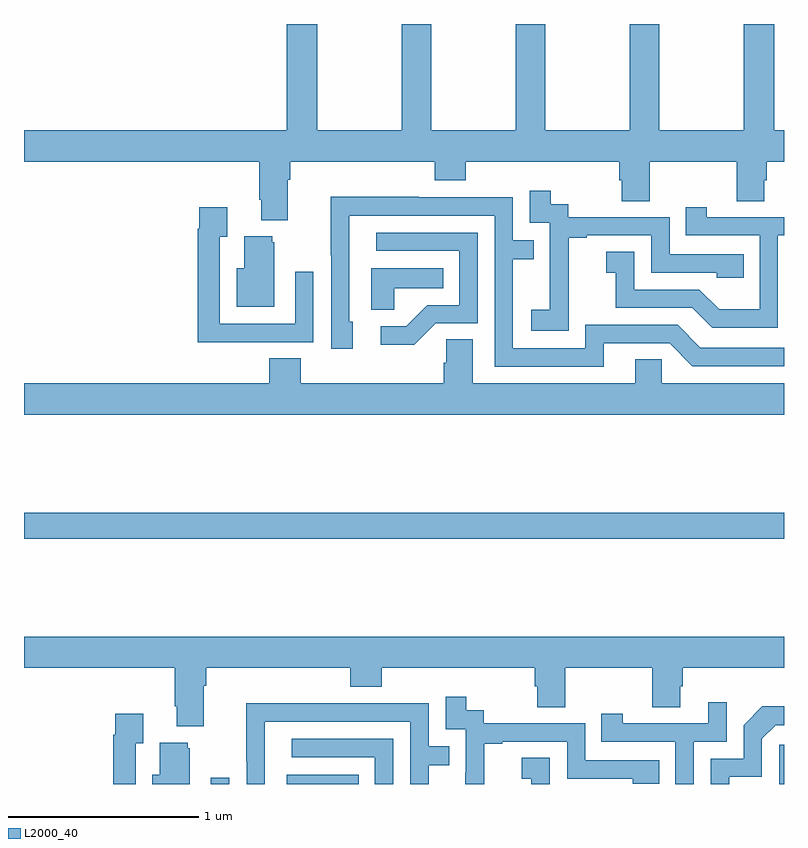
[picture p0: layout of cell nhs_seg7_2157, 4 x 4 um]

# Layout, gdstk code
import gdstk
lib = gdstk.Library(unit=1e-6, precision=1e-09)
def R(c, l, rs):  # rectangles x0, y0, x1, y1
    for r in rs: c.add(gdstk.rectangle(r[:2], r[2:], *l))
def P(c, l, *ps):  # polygons
    for p in ps: c.add(gdstk.Polygon(p, *l))
L2000_40 = (2000, 40)

nhs_seg7_2157 = lib.new_cell('nhs_seg7_2157')
R(nhs_seg7_2157, L2000_40, [(253.983,1004,254.079,1004.032), (254.384,1004,254.762,1004.05), (256.974,1004,257,1004.206), (253,1005.292,257,1005.428)])
P(nhs_seg7_2157, L2000_40, [(254.389,1007.18),(254.402,1007.18),(254.402,1007.276),(255.161,1007.276),(255.161,1007.177),(255.326,1007.177),(255.326,1007.276),(256.133,1007.276),(256.133,1007.178),(256.145,1007.178),(256.145,1007.068),(256.293,1007.068),(256.293,1007.276),(256.75,1007.276),(256.75,1007.068),(256.897,1007.068),(256.897,1007.178),(256.91,1007.178),(256.91,1007.276),(257,1007.276),(257,1007.44),(256.949,1007.44),(256.949,1008),(256.789,1008),(256.789,1007.44),(256.344,1007.44),(256.344,1008),(256.189,1008),(256.189,1007.44),(255.744,1007.44),(255.744,1008),(255.589,1008),(255.589,1007.44),(255.144,1007.44),(255.144,1008),(254.989,1008),(254.989,1007.44),(254.544,1007.44),(254.544,1008),(254.384,1008),(254.384,1007.44),(253,1007.44),(253,1007.276),(254.237,1007.276),(254.237,1007.074),(254.249,1007.074),(254.249,1006.967),(254.389,1006.967)],
  [(255.867,1006.591),(255.866,1006.591),(255.866,1006.875),(255.961,1006.875),(255.961,1006.887),(256.302,1006.887),(256.302,1006.692),(256.647,1006.692),(256.647,1006.665),(256.787,1006.665),(256.787,1006.788),(256.398,1006.788),(256.398,1006.983),(255.864,1006.983),(255.864,1007.052),(255.772,1007.052),(255.772,1007.122),(255.663,1007.122),(255.663,1006.953),(255.768,1006.953),(255.768,1006.724),(255.767,1006.724),(255.767,1006.495),(255.669,1006.495),(255.669,1006.385),(255.867,1006.385)],
  [(256.051,1006.32),(256.398,1006.32),(256.518,1006.2),(257,1006.2),(257,1006.296),(256.56,1006.296),(256.44,1006.416),(255.954,1006.416),(255.954,1006.293),(255.573,1006.293),(255.573,1006.762),(255.683,1006.762),(255.683,1006.863),(255.573,1006.863),(255.573,1007.088),(255.077,1007.088),(255.077,1007.09),(254.614,1007.09),(254.614,1006.783),(254.616,1006.783),(254.616,1006.29),(254.731,1006.29),(254.731,1006.434),(254.712,1006.434),(254.712,1006.992),(255.477,1006.992),(255.477,1006.197),(256.051,1006.197)],
  [(256.968,1006.887),(257,1006.887),(257,1006.983),(256.594,1006.983),(256.594,1007.035),(256.483,1007.035),(256.483,1006.887),(256.872,1006.887),(256.872,1006.498),(256.658,1006.498),(256.554,1006.602),(256.212,1006.602),(256.212,1006.801),(256.065,1006.801),(256.065,1006.691),(256.114,1006.691),(256.114,1006.506),(256.517,1006.506),(256.622,1006.401),(256.968,1006.401)],
  [(254.207,1006.326),(254.523,1006.326),(254.523,1006.696),(254.427,1006.696),(254.427,1006.422),(254.031,1006.422),(254.031,1006.879),(254.071,1006.879),(254.071,1007.035),(253.923,1007.035),(253.923,1006.922),(253.915,1006.922),(253.915,1006.325),(254.207,1006.325)],
  [(255.168,1006.425),(255.387,1006.425),(255.387,1006.902),(254.853,1006.902),(254.853,1006.806),(255.291,1006.806),(255.291,1006.521),(255.122,1006.521),(255.011,1006.41),(254.877,1006.41),(254.877,1006.313),(255.055,1006.313)],
  [(254.317,1006.851),(254.306,1006.851),(254.306,1006.882),(254.159,1006.882),(254.159,1006.714),(254.12,1006.714),(254.12,1006.511),(254.317,1006.511)],
  [(254.949,1006.61),(255.206,1006.61),(255.206,1006.714),(254.828,1006.714),(254.828,1006.495),(254.949,1006.495)],
  [(257,1006.108),(256.356,1006.108),(256.356,1006.235),(256.217,1006.235),(256.217,1006.108),(255.361,1006.108),(255.361,1006.34),(255.222,1006.34),(255.222,1006.217),(255.209,1006.217),(255.209,1006.108),(254.456,1006.108),(254.456,1006.241),(254.291,1006.241),(254.291,1006.108),(253,1006.108),(253,1005.944),(257,1005.944)],
  [(253.945,1004.516),(253.958,1004.516),(253.958,1004.612),(254.717,1004.612),(254.717,1004.513),(254.882,1004.513),(254.882,1004.612),(255.689,1004.612),(255.689,1004.514),(255.701,1004.514),(255.701,1004.404),(255.849,1004.404),(255.849,1004.612),(256.306,1004.612),(256.306,1004.404),(256.453,1004.404),(256.453,1004.514),(256.466,1004.514),(256.466,1004.612),(257,1004.612),(257,1004.776),(253,1004.776),(253,1004.612),(253.793,1004.612),(253.793,1004.41),(253.805,1004.41),(253.805,1004.303),(253.945,1004.303)],
  [(255.422,1004.211),(255.517,1004.211),(255.517,1004.223),(255.858,1004.223),(255.858,1004.028),(256.203,1004.028),(256.203,1004.001),(256.343,1004.001),(256.343,1004.124),(255.954,1004.124),(255.954,1004.319),(255.42,1004.319),(255.42,1004.388),(255.328,1004.388),(255.328,1004.458),(255.219,1004.458),(255.219,1004.289),(255.324,1004.289),(255.324,1004.06),(255.323,1004.06),(255.323,1004),(255.422,1004)],
  [(256.524,1004.223),(256.698,1004.223),(256.698,1004.431),(256.601,1004.431),(256.601,1004.319),(256.15,1004.319),(256.15,1004.371),(256.039,1004.371),(256.039,1004.223),(256.428,1004.223),(256.428,1004),(256.524,1004)],
  [(254.268,1004.328),(255.033,1004.328),(255.033,1004),(255.129,1004),(255.129,1004.098),(255.239,1004.098),(255.239,1004.199),(255.129,1004.199),(255.129,1004.424),(254.633,1004.424),(254.633,1004.426),(254.17,1004.426),(254.17,1004.119),(254.172,1004.119),(254.172,1004),(254.268,1004)],
  [(256.711,1004.037),(256.884,1004.037),(256.884,1004.238),(256.956,1004.31),(257,1004.31),(257,1004.408),(256.886,1004.408),(256.788,1004.31),(256.788,1004.133),(256.614,1004.133),(256.614,1004),(256.711,1004)],
  [(253.587,1004.215),(253.627,1004.215),(253.627,1004.371),(253.479,1004.371),(253.479,1004.258),(253.471,1004.258),(253.471,1004),(253.587,1004)],
  [(254.943,1004.238),(254.409,1004.238),(254.409,1004.142),(254.847,1004.142),(254.847,1004),(254.943,1004)],
  [(253.873,1004.187),(253.862,1004.187),(253.862,1004.218),(253.715,1004.218),(253.715,1004.05),(253.676,1004.05),(253.676,1004),(253.873,1004)],
  [(255.768,1004.137),(255.621,1004.137),(255.621,1004.027),(255.67,1004.027),(255.67,1004),(255.768,1004)])

lib.write_gds('nhs_seg7_2157.gds')
